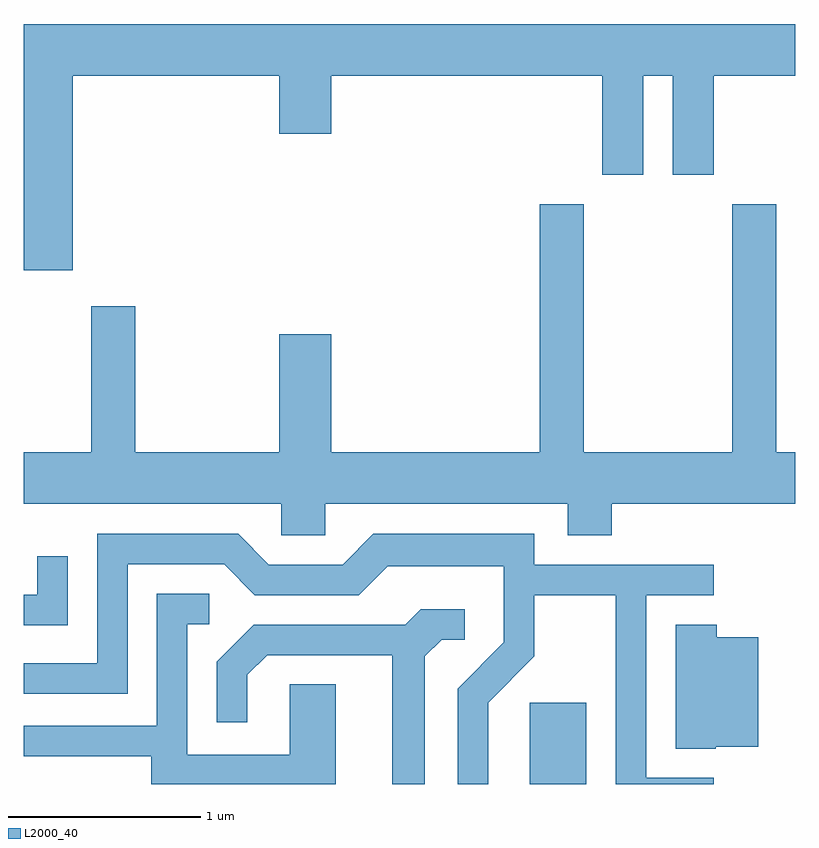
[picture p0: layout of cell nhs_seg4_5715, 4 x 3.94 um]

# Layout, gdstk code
import gdstk
lib = gdstk.Library(unit=1e-6, precision=1e-09)
def R(c, l, rs):  # rectangles x0, y0, x1, y1
    for r in rs: c.add(gdstk.rectangle(r[:2], r[2:], *l))
def P(c, l, *ps):  # polygons
    for p in ps: c.add(gdstk.Polygon(p, *l))
L2000_40 = (2000, 40)

nhs_seg4_5715 = lib.new_cell('nhs_seg4_5715')
R(nhs_seg4_5715, L2000_40, [(356.236,1259.982,356.529,1260.404)])
P(nhs_seg4_5715, L2000_40, [(353.864,1263.656),(354.936,1263.656),(354.936,1263.356),(355.204,1263.356),(355.204,1263.656),(356.611,1263.656),(356.611,1263.141),(356.824,1263.141),(356.824,1263.656),(356.976,1263.656),(356.976,1263.141),(357.189,1263.141),(357.189,1263.656),(357.611,1263.656),(357.611,1263.924),(353.611,1263.924),(353.611,1262.646),(353.864,1262.646)],
  [(355.174,1261.436),(356.431,1261.436),(356.431,1261.271),(356.659,1261.271),(356.659,1261.436),(357.611,1261.436),(357.611,1261.704),(357.514,1261.704),(357.514,1262.989),(357.286,1262.989),(357.286,1261.704),(356.514,1261.704),(356.514,1262.989),(356.286,1262.989),(356.286,1261.704),(355.204,1261.704),(355.204,1262.314),(354.936,1262.314),(354.936,1261.704),(354.189,1261.704),(354.189,1262.459),(353.961,1262.459),(353.961,1261.704),(353.611,1261.704),(353.611,1261.436),(354.946,1261.436),(354.946,1261.271),(355.174,1261.271)],
  [(356.019,1260.404),(356.259,1260.644),(356.259,1260.961),(356.681,1260.961),(356.681,1259.982),(357.188,1259.982),(357.188,1260.014),(356.839,1260.014),(356.839,1260.961),(357.188,1260.961),(357.188,1261.119),(356.259,1261.119),(356.259,1261.279),(355.424,1261.279),(355.264,1261.119),(354.882,1261.119),(354.722,1261.279),(353.991,1261.279),(353.991,1260.609),(353.611,1260.609),(353.611,1260.451),(354.149,1260.451),(354.149,1261.121),(354.649,1261.121),(354.809,1260.961),(355.347,1260.961),(355.497,1261.111),(356.101,1261.111),(356.101,1260.717),(355.861,1260.477),(355.861,1259.982),(356.019,1259.982)],
  [(353.839,1261.163),(353.681,1261.163),(353.681,1260.964),(353.611,1260.964),(353.611,1260.806),(353.839,1260.806)],
  [(355.229,1260.499),(354.991,1260.499),(354.991,1260.134),(354.459,1260.134),(354.459,1260.811),(354.573,1260.811),(354.573,1260.969),(354.301,1260.969),(354.301,1260.284),(353.611,1260.284),(353.611,1260.126),(354.271,1260.126),(354.271,1259.982),(355.229,1259.982)],
  [(355.689,1260.644),(355.777,1260.731),(355.898,1260.731),(355.898,1260.889),(355.669,1260.889),(355.589,1260.809),(354.804,1260.809),(354.611,1260.617),(354.611,1260.303),(354.769,1260.303),(354.769,1260.549),(354.872,1260.651),(355.521,1260.651),(355.521,1259.982),(355.689,1259.982)],
  [(357.2,1260.176),(357.419,1260.176),(357.419,1260.744),(357.204,1260.744),(357.204,1260.809),(356.991,1260.809),(356.991,1260.166),(357.2,1260.166)])

lib.write_gds('nhs_seg4_5715.gds')
